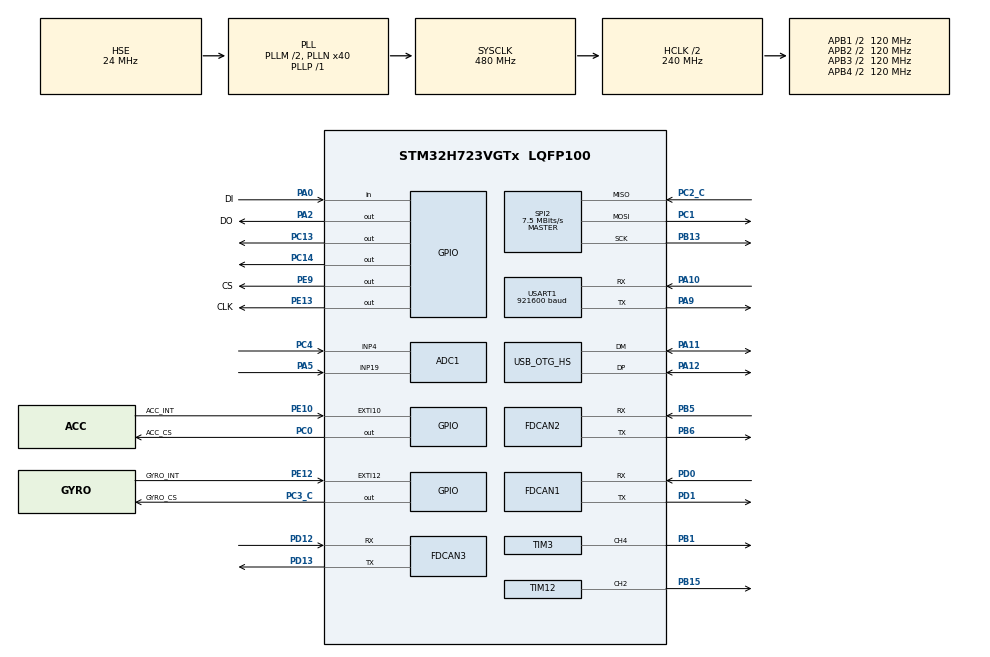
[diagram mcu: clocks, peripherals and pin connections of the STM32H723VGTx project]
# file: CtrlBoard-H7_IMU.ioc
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ADC1.Channel-0\#ChannelRegularConversion=ADC_CHANNEL_4
ADC1.Channel-1\#ChannelRegularConversion=ADC_CHANNEL_4
ADC1.ClockPrescaler=ADC_CLOCK_ASYNC_DIV64
ADC1.ContinuousConvMode=ENABLE
ADC1.ConversionDataManagement=ADC_CONVERSIONDATA_DMA_CIRCULAR
ADC1.NbrOfConversion=2
ADC1.NbrOfConversionFlag=1
ADC1.OffsetNumber-0\#ChannelRegularConversion=ADC_OFFSET_NONE
ADC1.OffsetNumber-1\#ChannelRegularConversion=ADC_OFFSET_NONE
ADC1.OffsetSignedSaturation-0\#ChannelRegularConversion=DISABLE
ADC1.OffsetSignedSaturation-1\#ChannelRegularConversion=DISABLE
ADC1.Rank-0\#ChannelRegularConversion=1
ADC1.Rank-1\#ChannelRegularConversion=2
ADC1.SamplingTime-0\#ChannelRegularConversion=ADC_SAMPLETIME_1CYCLE_5
ADC1.SamplingTime-1\#ChannelRegularConversion=ADC_SAMPLETIME_1CYCLE_5
ADC1.master=1
Dma.ADC1.4.Direction=DMA_PERIPH_TO_MEMORY
Dma.ADC1.4.EventEnable=DISABLE
Dma.ADC1.4.FIFOMode=DMA_FIFOMODE_DISABLE
Dma.ADC1.4.Instance=DMA1_Stream4
Dma.ADC1.4.MemDataAlignment=DMA_MDATAALIGN_HALFWORD
Dma.ADC1.4.MemInc=DMA_MINC_ENABLE
Dma.ADC1.4.Mode=DMA_CIRCULAR
Dma.ADC1.4.PeriphDataAlignment=DMA_PDATAALIGN_HALFWORD
Dma.ADC1.4.PeriphInc=DMA_PINC_DISABLE
Dma.ADC1.4.Polarity=HAL_DMAMUX_REQ_GEN_RISING
Dma.ADC1.4.Priority=DMA_PRIORITY_LOW
Dma.ADC1.4.RequestNumber=1
Dma.ADC1.4.SignalID=NONE
Dma.ADC1.4.SyncEnable=DISABLE
Dma.ADC1.4.SyncPolarity=HAL_DMAMUX_SYNC_NO_EVENT
Dma.ADC1.4.SyncRequestNumber=1
Dma.ADC1.4.SyncSignalID=NONE
Dma.Request0=SPI2_RX
Dma.Request1=SPI2_TX
Dma.Request2=USART1_RX
Dma.Request3=USART1_TX
Dma.Request4=ADC1
Dma.SPI2_RX.0.Direction=DMA_PERIPH_TO_MEMORY
Dma.SPI2_RX.0.EventEnable=DISABLE
Dma.SPI2_RX.0.FIFOMode=DMA_FIFOMODE_DISABLE
Dma.SPI2_RX.0.Instance=DMA1_Stream0
Dma.SPI2_RX.0.MemDataAlignment=DMA_MDATAALIGN_BYTE
Dma.SPI2_RX.0.MemInc=DMA_MINC_ENABLE
Dma.SPI2_RX.0.Mode=DMA_NORMAL
Dma.SPI2_RX.0.PeriphDataAlignment=DMA_PDATAALIGN_BYTE
Dma.SPI2_RX.0.PeriphInc=DMA_PINC_DISABLE
Dma.SPI2_RX.0.Polarity=HAL_DMAMUX_REQ_GEN_RISING
Dma.SPI2_RX.0.Priority=DMA_PRIORITY_VERY_HIGH
Dma.SPI2_RX.0.RequestNumber=1
Dma.SPI2_RX.0.SignalID=NONE
Dma.SPI2_RX.0.SyncEnable=DISABLE
Dma.SPI2_RX.0.SyncPolarity=HAL_DMAMUX_SYNC_NO_EVENT
Dma.SPI2_RX.0.SyncRequestNumber=1
Dma.SPI2_RX.0.SyncSignalID=NONE
Dma.SPI2_TX.1.Direction=DMA_MEMORY_TO_PERIPH
Dma.SPI2_TX.1.EventEnable=DISABLE
Dma.SPI2_TX.1.FIFOMode=DMA_FIFOMODE_DISABLE
Dma.SPI2_TX.1.Instance=DMA1_Stream1
Dma.SPI2_TX.1.MemDataAlignment=DMA_MDATAALIGN_BYTE
Dma.SPI2_TX.1.MemInc=DMA_MINC_ENABLE
Dma.SPI2_TX.1.Mode=DMA_NORMAL
Dma.SPI2_TX.1.PeriphDataAlignment=DMA_PDATAALIGN_BYTE
Dma.SPI2_TX.1.PeriphInc=DMA_PINC_DISABLE
Dma.SPI2_TX.1.Polarity=HAL_DMAMUX_REQ_GEN_RISING
Dma.SPI2_TX.1.Priority=DMA_PRIORITY_HIGH
Dma.SPI2_TX.1.RequestNumber=1
Dma.SPI2_TX.1.SignalID=NONE
Dma.SPI2_TX.1.SyncEnable=DISABLE
Dma.SPI2_TX.1.SyncPolarity=HAL_DMAMUX_SYNC_NO_EVENT
Dma.SPI2_TX.1.SyncRequestNumber=1
Dma.SPI2_TX.1.SyncSignalID=NONE
Dma.USART1_RX.2.Direction=DMA_PERIPH_TO_MEMORY
Dma.USART1_RX.2.EventEnable=DISABLE
Dma.USART1_RX.2.FIFOMode=DMA_FIFOMODE_DISABLE
Dma.USART1_RX.2.Instance=DMA1_Stream2
Dma.USART1_RX.2.MemDataAlignment=DMA_MDATAALIGN_BYTE
Dma.USART1_RX.2.MemInc=DMA_MINC_ENABLE
Dma.USART1_RX.2.Mode=DMA_NORMAL
Dma.USART1_RX.2.PeriphDataAlignment=DMA_PDATAALIGN_BYTE
Dma.USART1_RX.2.PeriphInc=DMA_PINC_DISABLE
Dma.USART1_RX.2.Polarity=HAL_DMAMUX_REQ_GEN_RISING
Dma.USART1_RX.2.Priority=DMA_PRIORITY_LOW
Dma.USART1_RX.2.RequestNumber=1
Dma.USART1_RX.2.SignalID=NONE
Dma.USART1_RX.2.SyncEnable=DISABLE
Dma.USART1_RX.2.SyncPolarity=HAL_DMAMUX_SYNC_NO_EVENT
Dma.USART1_RX.2.SyncRequestNumber=1
Dma.USART1_RX.2.SyncSignalID=NONE
Dma.USART1_TX.3.Direction=DMA_MEMORY_TO_PERIPH
Dma.USART1_TX.3.EventEnable=DISABLE
Dma.USART1_TX.3.FIFOMode=DMA_FIFOMODE_DISABLE
Dma.USART1_TX.3.Instance=DMA1_Stream3
Dma.USART1_TX.3.MemDataAlignment=DMA_MDATAALIGN_BYTE
Dma.USART1_TX.3.MemInc=DMA_MINC_ENABLE
Dma.USART1_TX.3.Mode=DMA_NORMAL
Dma.USART1_TX.3.PeriphDataAlignment=DMA_PDATAALIGN_BYTE
Dma.USART1_TX.3.PeriphInc=DMA_PINC_DISABLE
Dma.USART1_TX.3.Polarity=HAL_DMAMUX_REQ_GEN_RISING
Dma.USART1_TX.3.Priority=DMA_PRIORITY_LOW
Dma.USART1_TX.3.RequestNumber=1
Dma.USART1_TX.3.SignalID=NONE
Dma.USART1_TX.3.SyncEnable=DISABLE
Dma.USART1_TX.3.SyncPolarity=HAL_DMAMUX_SYNC_NO_EVENT
Dma.USART1_TX.3.SyncRequestNumber=1
Dma.USART1_TX.3.SyncSignalID=NONE
FDCAN1.AutoRetransmission=ENABLE
FDCAN1.CalculateBaudRateNominal=1000000
FDCAN1.CalculateTimeBitNominal=1000
FDCAN1.CalculateTimeQuantumNominal=12.5
FDCAN1.DataSyncJumpWidth=2
FDCAN1.DataTimeSeg1=13
FDCAN1.DataTimeSeg2=2
FDCAN1.ExtFiltersNbr=4
FDCAN1.FrameFormat=FDCAN_FRAME_FD_BRS
FDCAN1.NominalPrescaler=1
FDCAN1.NominalSyncJumpWidth=20
FDCAN1.NominalTimeSeg1=59
FDCAN1.NominalTimeSeg2=20
FDCAN1.ProtocolException=ENABLE
FDCAN1.RxFifo0ElmtsNbr=10
FDCAN1.StdFiltersNbr=4
FDCAN1.TxFifoQueueElmtsNbr=10
FDCAN2.AutoRetransmission=ENABLE
FDCAN2.CalculateBaudRateNominal=1000000
FDCAN2.CalculateTimeBitNominal=1000
FDCAN2.CalculateTimeQuantumNominal=12.5
FDCAN2.DataSyncJumpWidth=2
FDCAN2.DataTimeSeg1=13
FDCAN2.DataTimeSeg2=2
FDCAN2.ExtFiltersNbr=5
FDCAN2.FrameFormat=FDCAN_FRAME_FD_BRS
FDCAN2.MessageRAMOffset=854
FDCAN2.NominalPrescaler=1
FDCAN2.NominalSyncJumpWidth=20
FDCAN2.NominalTimeSeg1=59
FDCAN2.NominalTimeSeg2=20
FDCAN2.ProtocolException=ENABLE
FDCAN2.RxFifo1ElmtsNbr=10
FDCAN2.StdFiltersNbr=5
FDCAN2.TxFifoQueueElmtsNbr=10
FDCAN3.AutoRetransmission=ENABLE
FDCAN3.CalculateBaudRateNominal=1000000
FDCAN3.CalculateTimeBitNominal=1000
FDCAN3.CalculateTimeQuantumNominal=12.5
FDCAN3.DataPrescaler=1
FDCAN3.DataSyncJumpWidth=2
FDCAN3.DataTimeSeg1=13
FDCAN3.DataTimeSeg2=2
FDCAN3.ExtFiltersNbr=5
FDCAN3.FrameFormat=FDCAN_FRAME_FD_BRS
FDCAN3.MessageRAMOffset=1709
FDCAN3.NominalPrescaler=1
FDCAN3.NominalSyncJumpWidth=20
FDCAN3.NominalTimeSeg1=59
FDCAN3.NominalTimeSeg2=20
FDCAN3.ProtocolException=ENABLE
FDCAN3.RxFifo0ElmtsNbr=10
FDCAN3.StdFiltersNbr=5
FDCAN3.TxFifoQueueElmtsNbr=12
FREERTOS.MEMORY_ALLOCATION=0
FREERTOS.Tasks01=defaultTask,0,128,StartDefaultTask,Default,NULL,Dynamic,NULL,NULL;CHASSISR_TASK,2,512,ChassisR_Task,Default,NULL,Dynamic,NULL,NULL;CHASSISL_TASK,2,512,ChassisL_Task,Default,NULL,Dynamic,NULL,NULL;CONNECT_TASK,2,512,CONNECT_Task,Default,NULL,Dynamic,NULL,NULL;BODY_TASK,1,512,Body_Task,Default,NULL,Dynamic,NULL,NULL;VBUS_CHECK_TASK,0,128,VBUS_CheckTask,Default,NULL,Dynamic,NULL,NULL
FREERTOS.configENABLE_FPU=1
FREERTOS.configTOTAL_HEAP_SIZE=30720
Mcu.Family=STM32H7
Mcu.Name=STM32H723VGTx
Mcu.Package=LQFP100
NVIC.DMA1_Stream0_IRQn=true\:6\:0\:true\:false\:true\:true\:false\:true\:true
NVIC.DMA1_Stream1_IRQn=true\:6\:0\:true\:false\:true\:true\:false\:true\:true
NVIC.DMA1_Stream2_IRQn=true\:5\:0\:false\:false\:true\:true\:false\:true\:true
NVIC.DMA1_Stream3_IRQn=true\:5\:0\:false\:false\:true\:true\:false\:true\:true
NVIC.DMA1_Stream4_IRQn=true\:5\:0\:false\:false\:true\:true\:false\:true\:true
NVIC.FDCAN1_IT0_IRQn=true\:5\:0\:false\:false\:true\:true\:true\:true\:true
NVIC.FDCAN2_IT0_IRQn=true\:5\:0\:false\:false\:true\:true\:true\:true\:true
NVIC.FDCAN3_IT0_IRQn=true\:5\:0\:false\:false\:true\:true\:true\:true\:true
NVIC.OTG_HS_IRQn=true\:5\:0\:false\:false\:true\:true\:false\:true\:true
NVIC.PriorityGroup=NVIC_PRIORITYGROUP_4
NVIC.SPI2_IRQn=true\:5\:0\:true\:false\:true\:true\:false\:true\:true
NVIC.TIM2_IRQn=true\:15\:0\:false\:false\:true\:false\:false\:true\:true
NVIC.TimeBase=TIM2_IRQn
NVIC.TimeBaseIP=TIM2
NVIC.USART1_IRQn=true\:7\:0\:true\:false\:true\:true\:true\:true\:true
PA0.GPIO_Label=DI
PA0.GPIO_PuPd=GPIO_PULLUP
PA0.Signal=GPIO_Input
PA10.Mode=Asynchronous
PA10.Signal=USART1_RX
PA11.Mode=Device_Only_FS
PA11.Signal=USB_OTG_HS_DM
PA12.Mode=Device_Only_FS
PA12.Signal=USB_OTG_HS_DP
PA13(JTMS/SWDIO).Mode=Serial_Wire
PA13(JTMS/SWDIO).Signal=DEBUG_JTMS-SWDIO
PA14(JTCK/SWCLK).Mode=Serial_Wire
PA14(JTCK/SWCLK).Signal=DEBUG_JTCK-SWCLK
PA2.GPIO_Label=DO
PA2.GPIO_PuPd=GPIO_PULLUP
PA2.GPIO_Speed=GPIO_SPEED_FREQ_VERY_HIGH
PA2.PinState=GPIO_PIN_SET
PA2.Signal=GPIO_Output
PA5.Signal=ADCx_INP19
PA9.Mode=Asynchronous
PA9.Signal=USART1_TX
PB1.Signal=S_TIM3_CH4
PB13.GPIO_Speed=GPIO_SPEED_FREQ_VERY_HIGH
PB13.Mode=Full_Duplex_Master
PB13.Signal=SPI2_SCK
PB15.Signal=S_TIM12_CH2
PB5.Mode=FDCAN_Activate
PB5.Signal=FDCAN2_RX
PB6.Mode=FDCAN_Activate
PB6.Signal=FDCAN2_TX
PC0.GPIO_Label=ACC_CS
PC0.GPIO_Speed=GPIO_SPEED_FREQ_VERY_HIGH
PC0.PinState=GPIO_PIN_SET
PC0.Signal=GPIO_Output
PC1.GPIO_Speed=GPIO_SPEED_FREQ_VERY_HIGH
PC1.Mode=Full_Duplex_Master
PC1.Signal=SPI2_MOSI
PC13.Signal=GPIO_Output
PC14-OSC32_IN.Signal=GPIO_Output
PC2_C.GPIO_Speed=GPIO_SPEED_FREQ_VERY_HIGH
PC2_C.Mode=Full_Duplex_Master
PC2_C.Signal=SPI2_MISO
PC3_C.GPIO_Label=GYRO_CS
PC3_C.GPIO_Speed=GPIO_SPEED_FREQ_VERY_HIGH
PC3_C.PinState=GPIO_PIN_SET
PC3_C.Signal=GPIO_Output
PC4.Signal=ADCx_INP4
PD0.Mode=FDCAN_Activate
PD0.Signal=FDCAN1_RX
PD1.Mode=FDCAN_Activate
PD1.Signal=FDCAN1_TX
PD12.Mode=FDCAN_Activate
PD12.Signal=FDCAN3_RX
PD13.Mode=FDCAN_Activate
PD13.Signal=FDCAN3_TX
PE10.GPIO_Label=ACC_INT
PE10.Signal=GPXTI10
PE12.GPIO_Label=GYRO_INT
PE12.Signal=GPXTI12
PE13.GPIO_Label=CLK
PE13.GPIO_PuPd=GPIO_PULLUP
PE13.GPIO_Speed=GPIO_SPEED_FREQ_VERY_HIGH
PE13.PinState=GPIO_PIN_SET
PE13.Signal=GPIO_Output
PE9.GPIO_Label=CS
PE9.GPIO_PuPd=GPIO_PULLUP
PE9.GPIO_Speed=GPIO_SPEED_FREQ_VERY_HIGH
PE9.PinState=GPIO_PIN_SET
PE9.Signal=GPIO_Output
PH0-OSC_IN.Mode=HSE-External-Oscillator
PH0-OSC_IN.Signal=RCC_OSC_IN
PH1-OSC_OUT.Mode=HSE-External-Oscillator
PH1-OSC_OUT.Signal=RCC_OSC_OUT
ProjectManager.HeapSize=0x200
ProjectManager.StackSize=0x800
ProjectManager.TargetToolchain=MDK-ARM V5.27
RCC.ADCCLockSelection=RCC_ADCCLKSOURCE_PLL3
RCC.ADCFreq_Value=100000000
RCC.APB1Freq_Value=120000000
RCC.APB2Freq_Value=120000000
RCC.APB3Freq_Value=120000000
RCC.APB4Freq_Value=120000000
RCC.CortexFreq_Value=480000000
RCC.D1PPRE=RCC_APB3_DIV2
RCC.D2PPRE1=RCC_APB1_DIV2
RCC.D2PPRE2=RCC_APB2_DIV2
RCC.D3PPRE=RCC_APB4_DIV2
RCC.DIVM1=2
RCC.DIVM2=2
RCC.DIVM3=2
RCC.DIVN1=40
RCC.DIVN2=40
RCC.DIVN3=25
RCC.DIVP1=1
RCC.DIVQ2=6
RCC.DIVQ3=1
RCC.DIVR3=3
RCC.FDCANCLockSelection=RCC_FDCANCLKSOURCE_PLL2
RCC.HCLKFreq_Value=240000000
RCC.HPRE=RCC_HCLK_DIV2
RCC.HSE_VALUE=24000000
RCC.PLL2FRACN=0
RCC.PLL3FRACN=0
RCC.PLLFRACN=0
RCC.PLLSourceVirtual=RCC_PLLSOURCE_HSE
RCC.SYSCLKFreq_VALUE=480000000
RCC.SYSCLKSource=RCC_SYSCLKSOURCE_PLLCLK
RCC.USBCLockSelection=RCC_USBCLKSOURCE_HSI48
RCC.USBFreq_Value=48000000
SH.ADCx_INP19.0=ADC1_INP19,IN19-Single-Ended
SH.ADCx_INP4.0=ADC1_INP4,IN4-Single-Ended
SH.S_TIM12_CH2.0=TIM12_CH2,PWM Generation2 CH2
SH.S_TIM3_CH4.0=TIM3_CH4,PWM Generation4 CH4
SPI2.BaudRatePrescaler=SPI_BAUDRATEPRESCALER_32
SPI2.CLKPhase=SPI_PHASE_2EDGE
SPI2.CLKPolarity=SPI_POLARITY_HIGH
SPI2.CalculateBaudRate=7.5 MBits/s
SPI2.DataSize=SPI_DATASIZE_8BIT
SPI2.Direction=SPI_DIRECTION_2LINES
SPI2.Mode=SPI_MODE_MASTER
SPI2.VirtualType=VM_MASTER
TIM12.Channel-PWM\ Generation2\ CH2=TIM_CHANNEL_2
TIM12.Period=2000-1
TIM12.Prescaler=24-1
TIM12.Pulse-PWM\ Generation2\ CH2=1000
TIM3.AutoReloadPreload=TIM_AUTORELOAD_PRELOAD_ENABLE
TIM3.Channel-PWM\ Generation4\ CH4=TIM_CHANNEL_4
TIM3.Period=10000-1
TIM3.Prescaler=24-1
USART1.BaudRate=921600
USART1.VirtualMode-Asynchronous=VM_ASYNC
USB_DEVICE.CLASS_NAME_HS=CDC
USB_DEVICE.VirtualMode=Cdc
USB_DEVICE.VirtualModeHS=Cdc_HS
USB_OTG_HS.VirtualMode-Device_Only_FS=Device_Only_FS
VP_FREERTOS_VS_CMSIS_V1.Mode=CMSIS_V1
VP_MEMORYMAP_VS_MEMORYMAP.Mode=CurAppReg
VP_SYS_VS_tim2.Mode=TIM2
VP_USB_DEVICE_VS_USB_DEVICE_CDC_HS.Mode=CDC_HS
board=custom

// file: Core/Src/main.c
/* USER CODE BEGIN Header */
/**
  ******************************************************************************
  * @file           : main.c
  * @brief          : Main program body
  ******************************************************************************
  * @attention
  *
  * Copyright (c) 2024 STMicroelectronics.
  * All rights reserved.
  *
  * This software is licensed under terms that can be found in the LICENSE file
  * in the root directory of this software component.
  * If no LICENSE file comes with this software, it is provided AS-IS.
  *
  ******************************************************************************
  */
/* USER CODE END Header */
#include "main.h"
#include "cmsis_os.h"
#include "adc.h"
#include "dma.h"
#include "fdcan.h"
#include "memorymap.h"
#include "spi.h"
#include "tim.h"
#include "usart.h"
#include "usb_device.h"
#include "gpio.h"

/* USER CODE BEGIN Includes */
#include "BMI088driver.h"
#include "kalman_filter.h"
#include "mahony_filter.h"
#include "bsp_dwt.h"
#include "BMI088Middleware.h"
#include "can_bsp.h"
#include "bsp_usart1.h"

extern rev_data_t rev_data;

/* USER CODE END Includes */

void SystemClock_Config(void);
void PeriphCommonClock_Config(void);
void MX_FREERTOS_Init(void);

int main(void)
{

  /* MCU Configuration--------------------------------------------------------*/

  /* Reset of all peripherals, Initializes the Flash interface and the Systick. */
  HAL_Init();

  /* Configure the system clock */
  SystemClock_Config();

  /* Configure the peripherals common clocks */
  PeriphCommonClock_Config();

  /* Initialize all configured peripherals */
  MX_GPIO_Init();
  MX_DMA_Init();
  MX_SPI2_Init();
  MX_TIM3_Init();
  MX_FDCAN3_Init();
  MX_USART1_UART_Init();
  MX_FDCAN1_Init();
  MX_FDCAN2_Init();
  MX_ADC1_Init();
  MX_TIM12_Init();
  /* USER CODE BEGIN 2 */
	Buzzer_OFF;
	DWT_Init(480);
  HAL_TIM_Base_Start_IT(&htim3);

	Power_OUT1_ON;//imu初始化完成，可控电源打开，led灯亮
	Power_OUT2_ON;

  FDCAN1_Config();//can过滤器初始化
	FDCAN2_Config();
  /* USER CODE END 2 */

  /* Call init function for freertos objects (in cmsis_os2.c) */
  MX_FREERTOS_Init();

  /* Start scheduler */
  osKernelStart();

  /* We should never get here as control is now taken by the scheduler */

  /* Infinite loop */
  while (1)
  {

  }
}

void SystemClock_Config(void)
{
  RCC_OscInitTypeDef RCC_OscInitStruct = {0};
  RCC_ClkInitTypeDef RCC_ClkInitStruct = {0};

  /** Supply configuration update enable
  */
  HAL_PWREx_ConfigSupply(PWR_LDO_SUPPLY);

  /** Configure the main internal regulator output voltage
  */
  __HAL_PWR_VOLTAGESCALING_CONFIG(PWR_REGULATOR_VOLTAGE_SCALE0);

  while(!__HAL_PWR_GET_FLAG(PWR_FLAG_VOSRDY)) {}

  /** Initializes the RCC Oscillators according to the specified parameters
  * in the RCC_OscInitTypeDef structure.
  */
  RCC_OscInitStruct.OscillatorType = RCC_OSCILLATORTYPE_HSI48|RCC_OSCILLATORTYPE_HSE;
  RCC_OscInitStruct.HSEState = RCC_HSE_ON;
  RCC_OscInitStruct.HSI48State = RCC_HSI48_ON;
  RCC_OscInitStruct.PLL.PLLState = RCC_PLL_ON;
  RCC_OscInitStruct.PLL.PLLSource = RCC_PLLSOURCE_HSE;
  RCC_OscInitStruct.PLL.PLLM = 2;
  RCC_OscInitStruct.PLL.PLLN = 40;
  RCC_OscInitStruct.PLL.PLLP = 1;
  RCC_OscInitStruct.PLL.PLLQ = 2;
  RCC_OscInitStruct.PLL.PLLR = 2;
  RCC_OscInitStruct.PLL.PLLRGE = RCC_PLL1VCIRANGE_3;
  RCC_OscInitStruct.PLL.PLLVCOSEL = RCC_PLL1VCOWIDE;
  RCC_OscInitStruct.PLL.PLLFRACN = 0;
  if (HAL_RCC_OscConfig(&RCC_OscInitStruct) != HAL_OK)
  {
    Error_Handler();
  }

  /** Initializes the CPU, AHB and APB buses clocks
  */
  RCC_ClkInitStruct.ClockType = RCC_CLOCKTYPE_HCLK|RCC_CLOCKTYPE_SYSCLK
                              |RCC_CLOCKTYPE_PCLK1|RCC_CLOCKTYPE_PCLK2
                              |RCC_CLOCKTYPE_D3PCLK1|RCC_CLOCKTYPE_D1PCLK1;
  RCC_ClkInitStruct.SYSCLKSource = RCC_SYSCLKSOURCE_PLLCLK;
  RCC_ClkInitStruct.SYSCLKDivider = RCC_SYSCLK_DIV1;
  RCC_ClkInitStruct.AHBCLKDivider = RCC_HCLK_DIV2;
  RCC_ClkInitStruct.APB3CLKDivider = RCC_APB3_DIV2;
  RCC_ClkInitStruct.APB1CLKDivider = RCC_APB1_DIV2;
  RCC_ClkInitStruct.APB2CLKDivider = RCC_APB2_DIV2;
  RCC_ClkInitStruct.APB4CLKDivider = RCC_APB4_DIV2;

  if (HAL_RCC_ClockConfig(&RCC_ClkInitStruct, FLASH_LATENCY_3) != HAL_OK)
  {
    Error_Handler();
  }
}

void PeriphCommonClock_Config(void)
{
  RCC_PeriphCLKInitTypeDef PeriphClkInitStruct = {0};

  /** Initializes the peripherals clock
  */
  PeriphClkInitStruct.PeriphClockSelection = RCC_PERIPHCLK_FDCAN;
  PeriphClkInitStruct.PLL2.PLL2M = 2;
  PeriphClkInitStruct.PLL2.PLL2N = 40;
  PeriphClkInitStruct.PLL2.PLL2P = 2;
  PeriphClkInitStruct.PLL2.PLL2Q = 6;
  PeriphClkInitStruct.PLL2.PLL2R = 2;
  PeriphClkInitStruct.PLL2.PLL2RGE = RCC_PLL2VCIRANGE_3;
  PeriphClkInitStruct.PLL2.PLL2VCOSEL = RCC_PLL2VCOWIDE;
  PeriphClkInitStruct.PLL2.PLL2FRACN = 0;
  PeriphClkInitStruct.FdcanClockSelection = RCC_FDCANCLKSOURCE_PLL2;
  if (HAL_RCCEx_PeriphCLKConfig(&PeriphClkInitStruct) != HAL_OK)
  {
    Error_Handler();
  }
}

void HAL_TIM_PeriodElapsedCallback(TIM_HandleTypeDef *htim)
{
  if (htim->Instance == TIM2) {
    HAL_IncTick();
  }
}

void Error_Handler(void)
{
  __disable_irq();
  while (1)
  {
  }
}

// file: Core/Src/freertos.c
/* USER CODE BEGIN Header */
/**
  ******************************************************************************
  * File Name          : freertos.c
  * Description        : Code for freertos applications
  ******************************************************************************
  * @attention
  *
  * Copyright (c) 2024 STMicroelectronics.
  * All rights reserved.
  *
  * This software is licensed under terms that can be found in the LICENSE file
  * in the root directory of this software component.
  * If no LICENSE file comes with this software, it is provided AS-IS.
  *
  ******************************************************************************
  */
/* USER CODE END Header */

#include "FreeRTOS.h"
#include "task.h"
#include "main.h"
#include "cmsis_os.h"

/* USER CODE BEGIN Includes */
#include "INS_task.h"
#include "chassisR_task.h"
#include "chassisL_task.h"
#include "connect_task.h"
#include "ps2_task.h"
#include "body_task.h"
#include "vbus_check.h"
/* USER CODE END Includes */

osThreadId defaultTaskHandle;
osThreadId CHASSISR_TASKHandle;
osThreadId CHASSISL_TASKHandle;
osThreadId CONNECT_TASKHandle;
osThreadId BODY_TASKHandle;
osThreadId VBUS_CHECK_TASKHandle;

void StartDefaultTask(void const * argument);
void ChassisR_Task(void const * argument);
void ChassisL_Task(void const * argument);
void CONNECT_Task(void const * argument);
void Body_Task(void const * argument);
void VBUS_CheckTask(void const * argument);

extern void MX_USB_DEVICE_Init(void);
void MX_FREERTOS_Init(void); /* (MISRA C 2004 rule 8.1) */

void MX_FREERTOS_Init(void) {

  /* Create the thread(s) */
  /* definition and creation of defaultTask */
  osThreadDef(defaultTask, StartDefaultTask, osPriorityNormal, 0, 128);
  defaultTaskHandle = osThreadCreate(osThread(defaultTask), NULL);

  /* definition and creation of CHASSISR_TASK */
  osThreadDef(CHASSISR_TASK, ChassisR_Task, osPriorityHigh, 0, 512);
  CHASSISR_TASKHandle = osThreadCreate(osThread(CHASSISR_TASK), NULL);

  /* definition and creation of CHASSISL_TASK */
  osThreadDef(CHASSISL_TASK, ChassisL_Task, osPriorityHigh, 0, 512);
  CHASSISL_TASKHandle = osThreadCreate(osThread(CHASSISL_TASK), NULL);

  /* definition and creation of CONNECT_TASK */
  osThreadDef(CONNECT_TASK, CONNECT_Task, osPriorityHigh, 0, 512);
  CONNECT_TASKHandle = osThreadCreate(osThread(CONNECT_TASK), NULL);

  /* definition and creation of BODY_TASK */
  osThreadDef(BODY_TASK, Body_Task, osPriorityAboveNormal, 0, 512);
  BODY_TASKHandle = osThreadCreate(osThread(BODY_TASK), NULL);

  /* definition and creation of VBUS_CHECK_TASK */
  osThreadDef(VBUS_CHECK_TASK, VBUS_CheckTask, osPriorityNormal, 0, 128);
  VBUS_CHECK_TASKHandle = osThreadCreate(osThread(VBUS_CHECK_TASK), NULL);

}

void StartDefaultTask(void const * argument)
{
  /* init code for USB_DEVICE */
  MX_USB_DEVICE_Init();
  for(;;)
  {
    osDelay(1);
  }
}

void ChassisR_Task(void const * argument)
{
  /* USER CODE BEGIN ChassisR_Task */
  /* Infinite loop */
  for(;;)
  {
    ChassisR_task();
  }
  /* USER CODE END ChassisR_Task */
}

void ChassisL_Task(void const * argument)
{
  /* USER CODE BEGIN ChassisL_Task */
  /* Infinite loop */
  for(;;)
  {
    ChassisL_task();
  }
  /* USER CODE END ChassisL_Task */
}

void CONNECT_Task(void const * argument)
{
  /* USER CODE BEGIN CONNECT_Task */
  /* Infinite loop */
  for(;;)
  {
		Connect_task();
  }
  /* USER CODE END CONNECT_Task */
}

void Body_Task(void const * argument)
{
  /* USER CODE BEGIN Body_Task */
  /* Infinite loop */
  for(;;)
  {
    Body_task();
  }
  /* USER CODE END Body_Task */
}

void VBUS_CheckTask(void const * argument)
{
  /* USER CODE BEGIN VBUS_CheckTask */
  /* Infinite loop */
  for(;;)
  {
    VBUS_Check_task();
  }
  /* USER CODE END VBUS_CheckTask */
}
